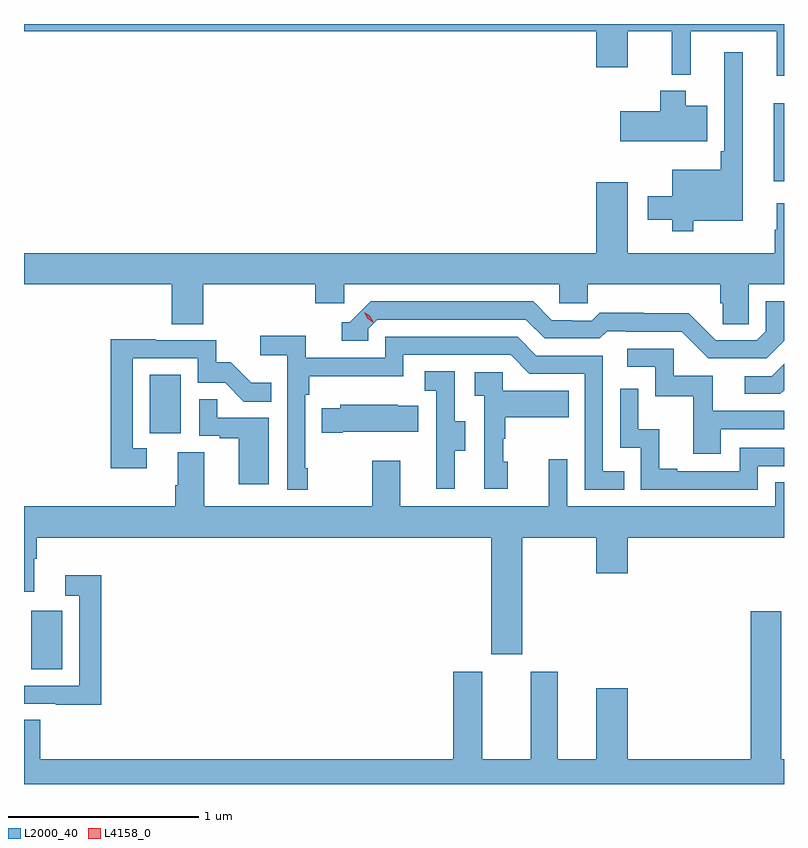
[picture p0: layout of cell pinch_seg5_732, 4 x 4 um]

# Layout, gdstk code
import gdstk
lib = gdstk.Library(unit=1e-6, precision=1e-09)
def R(c, l, rs):  # rectangles x0, y0, x1, y1
    for r in rs: c.add(gdstk.rectangle(r[:2], r[2:], *l))
def P(c, l, *ps):  # polygons
    for p in ps: c.add(gdstk.Polygon(p, *l))
L2000_40 = (2000, 40)
L4158_0 = (4158, 0)

pinch_seg5_732 = lib.new_cell('pinch_seg5_732')
R(pinch_seg5_732, L2000_40, [(857.336,896.028,857.5,896.335), (857.96,897.27,858.124,897.577), (861.245,898.595,861.299,899.005)])
P(pinch_seg5_732, L2000_40, [(857.299,899.384),(860.312,899.384),(860.312,899.196),(860.476,899.196),(860.476,899.384),(860.707,899.384),(860.707,899.156),(860.807,899.156),(860.807,899.384),(861.26,899.384),(861.26,899.151),(861.299,899.151),(861.299,899.423),(857.299,899.423)],
  [(860.821,898.388),(861.082,898.388),(861.082,899.275),(860.985,899.275),(860.985,898.753),(860.965,898.753),(860.965,898.657),(860.711,898.657),(860.711,898.516),(860.583,898.516),(860.583,898.394),(860.71,898.394),(860.71,898.331),(860.821,898.331)],
  [(860.896,898.993),(860.782,898.993),(860.782,899.071),(860.648,899.071),(860.648,898.963),(860.436,898.963),(860.436,898.805),(860.896,898.805)],
  [(858.242,898.052),(858.833,898.052),(858.833,897.954),(858.984,897.954),(858.984,898.052),(860.115,898.052),(860.115,897.954),(860.265,897.954),(860.265,898.052),(860.963,898.052),(860.963,897.954),(860.977,897.954),(860.977,897.844),(861.114,897.844),(861.114,898.052),(861.299,898.052),(861.299,898.48),(861.26,898.48),(861.26,898.34),(861.249,898.34),(861.249,898.216),(860.476,898.216),(860.476,898.591),(860.312,898.591),(860.312,898.216),(857.299,898.216),(857.299,898.052),(858.077,898.052),(858.077,897.844),(858.242,897.844)],
  [(861.299,897.755),(861.299,897.963),(861.204,897.963),(861.204,897.807),(861.156,897.759),(860.94,897.759),(860.798,897.901),(860.562,897.901),(860.562,897.904),(860.329,897.904),(860.287,897.861),(860.184,897.861),(860.184,897.864),(860.077,897.864),(859.978,897.963),(859.125,897.963),(859.014,897.852),(858.971,897.852),(858.971,897.756),(859.11,897.756),(859.11,897.819),(859.158,897.867),(859.941,897.867),(860.04,897.768),(860.329,897.768),(860.368,897.807),(860.467,897.807),(860.467,897.804),(860.76,897.804),(860.901,897.663),(861.207,897.663)],
  [(858.793,897.085),(858.78,897.085),(858.78,897.473),(858.8,897.473),(858.8,897.569),(859.296,897.569),(859.296,897.681),(859.86,897.681),(859.959,897.582),(860.25,897.582),(860.25,896.973),(860.459,896.973),(860.459,897.069),(860.346,897.069),(860.346,897.678),(859.996,897.678),(859.897,897.777),(859.2,897.777),(859.2,897.666),(858.782,897.666),(858.782,897.782),(858.543,897.782),(858.543,897.68),(858.684,897.68),(858.684,896.973),(858.793,896.973)],
  [(857.944,897.189),(857.871,897.189),(857.871,897.663),(858.213,897.663),(858.213,897.534),(858.357,897.534),(858.455,897.436),(858.599,897.436),(858.599,897.535),(858.495,897.535),(858.388,897.642),(858.312,897.642),(858.312,897.759),(857.993,897.759),(857.993,897.764),(857.755,897.764),(857.755,897.084),(857.944,897.084)],
  [(860.965,897.291),(861.299,897.291),(861.299,897.387),(860.923,897.387),(860.923,897.573),(860.718,897.573),(860.718,897.714),(860.475,897.714),(860.475,897.618),(860.622,897.618),(860.622,897.465),(860.821,897.465),(860.821,897.162),(860.965,897.162)],
  [(861.299,897.496),(861.299,897.635),(861.234,897.57),(861.093,897.57),(861.093,897.477),(861.28,897.477)],
  [(859.567,897.178),(859.621,897.178),(859.621,897.333),(859.566,897.333),(859.566,897.596),(859.407,897.596),(859.407,897.493),(859.47,897.493),(859.47,897.189),(859.469,897.189),(859.469,896.976),(859.567,896.976)],
  [(859.846,897.12),(859.821,897.12),(859.821,897.239),(859.831,897.239),(859.831,897.353),(860.165,897.353),(860.165,897.493),(859.818,897.493),(859.818,897.591),(859.671,897.591),(859.671,897.467),(859.722,897.467),(859.722,896.976),(859.846,896.976)],
  [(861.162,897.096),(861.299,897.096),(861.299,897.192),(861.066,897.192),(861.066,897.069),(860.737,897.069),(860.737,897.082),(860.642,897.082),(860.642,897.29),(860.532,897.29),(860.532,897.502),(860.436,897.502),(860.436,897.192),(860.544,897.192),(860.544,896.973),(861.162,896.973)],
  [(858.586,897.351),(858.317,897.351),(858.317,897.449),(858.222,897.449),(858.222,897.255),(858.329,897.255),(858.329,897.243),(858.428,897.243),(858.428,897),(858.586,897)],
  [(858.976,897.278),(859.373,897.278),(859.373,897.415),(859.265,897.415),(859.265,897.418),(858.963,897.418),(858.963,897.4),(858.865,897.4),(858.865,897.271),(858.976,897.271)],
  [(859.921,896.72),(860.312,896.72),(860.312,896.532),(860.476,896.532),(860.476,896.72),(861.299,896.72),(861.299,897.011),(861.252,897.011),(861.252,896.884),(860.157,896.884),(860.157,897.133),(860.06,897.133),(860.06,896.884),(859.279,896.884),(859.279,897.124),(859.132,897.124),(859.132,896.884),(858.247,896.884),(858.247,897.17),(858.107,897.17),(858.107,896.996),(858.095,896.996),(858.095,896.884),(857.299,896.884),(857.299,896.434),(857.353,896.434),(857.353,896.608),(857.366,896.608),(857.366,896.72),(859.757,896.72),(859.757,896.106),(859.921,896.106)],
  [(857.705,896.521),(857.517,896.521),(857.517,896.415),(857.589,896.415),(857.589,895.941),(857.299,895.941),(857.299,895.845),(857.467,895.845),(857.467,895.84),(857.705,895.84)],
  [(861.299,895.552),(861.285,895.552),(861.285,896.332),(861.125,896.332),(861.125,895.552),(860.476,895.552),(860.476,895.927),(860.312,895.927),(860.312,895.552),(860.107,895.552),(860.107,896.014),(859.967,896.014),(859.967,895.552),(859.711,895.552),(859.711,896.014),(859.559,896.014),(859.559,895.552),(857.384,895.552),(857.384,895.76),(857.299,895.76),(857.299,895.423),(861.299,895.423)])
P(pinch_seg5_732, L4158_0, [(859.135,897.854),(859.105,897.874),(859.089,897.907),(859.089,897.907),(859.09,897.907),(859.12,897.888),(859.136,897.855),(859.136,897.854)])

lib.write_gds('pinch_seg5_732.gds')
